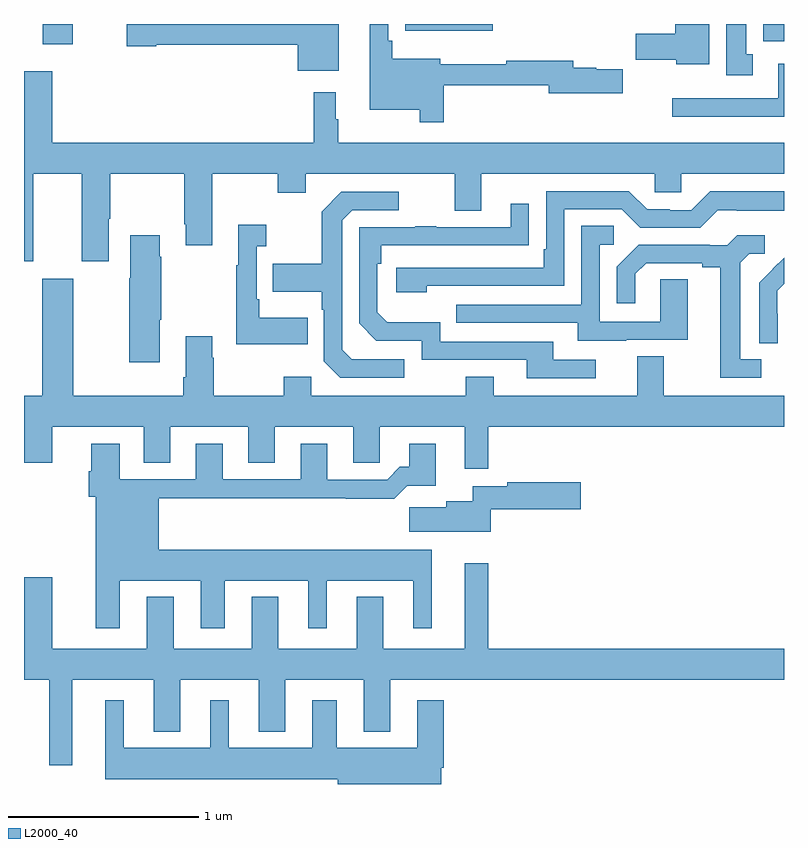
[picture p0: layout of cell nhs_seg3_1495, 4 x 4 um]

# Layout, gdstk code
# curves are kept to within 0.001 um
import gdstk
lib = gdstk.Library(unit=1e-6, precision=1e-09)
def R(c, l, rs):  # rectangles x0, y0, x1, y1
    for r in rs: c.add(gdstk.rectangle(r[:2], r[2:], *l))
def P(c, l, *ps):  # polygons
    for p in ps: c.add(gdstk.Polygon(p, *l))
L2000_40 = (2000, 40)

nhs_seg3_1495 = lib.new_cell('nhs_seg3_1495')
R(nhs_seg3_1495, L2000_40, [(189.098,672.294,189.256,672.4), (192.89,672.308,193,672.4), (191.006,672.365,191.467,672.4)])
P(nhs_seg3_1495, L2000_40, [(190.657,672.4),(189.542,672.4),(189.542,672.284),(189.696,672.284),(189.696,672.292),(190.442,672.292),(190.442,672.155),(190.657,672.155)],
  [(192.607,672.4),(192.428,672.4),(192.428,672.35),(192.219,672.35),(192.219,672.213),(192.432,672.213),(192.432,672.188),(192.607,672.188)],
  [(192.835,672.242),(192.802,672.242),(192.802,672.4),(192.695,672.4),(192.695,672.129),(192.835,672.129)],
  [(191.21,672.078),(191.762,672.078),(191.762,672.035),(192.151,672.035),(192.151,672.162),(192.012,672.162),(192.012,672.17),(191.89,672.17),(191.89,672.206),(191.537,672.206),(191.537,672.187),(191.191,672.187),(191.191,672.217),(190.937,672.217),(190.937,672.313),(190.917,672.313),(190.917,672.4),(190.82,672.4),(190.82,671.948),(191.082,671.948),(191.082,671.883),(191.21,671.883)],
  [(193,672.19),(192.971,672.19),(192.971,672.009),(192.411,672.009),(192.411,671.912),(193,671.912)],
  [(189.148,672.151),(189,672.151),(189,671.151),(189.049,671.151),(189.049,671.612),(189.305,671.612),(189.305,671.151),(189.445,671.151),(189.445,671.374),(189.453,671.374),(189.453,671.612),(189.844,671.612),(189.844,671.347),(189.851,671.347),(189.851,671.235),(189.991,671.235),(189.991,671.612),(190.336,671.612),(190.336,671.513),(190.483,671.513),(190.483,671.612),(191.267,671.612),(191.267,671.418),(191.407,671.418),(191.407,671.612),(192.321,671.612),(192.321,671.514),(192.459,671.514),(192.459,671.612),(193,671.612),(193,671.776),(190.654,671.776),(190.654,671.9),(190.642,671.9),(190.642,672.04),(190.525,672.04),(190.525,671.776),(189.148,671.776)],
  [(191.12,671.022),(191.844,671.022),(191.844,671.424),(192.147,671.424),(192.243,671.328),(192.558,671.328),(192.651,671.421),(192.751,671.421),(192.751,671.417),(193,671.417),(193,671.521),(192.613,671.521),(192.513,671.421),(192.398,671.421),(192.398,671.424),(192.279,671.424),(192.183,671.52),(191.748,671.52),(191.748,671.215),(191.735,671.215),(191.735,671.118),(190.959,671.118),(190.959,670.988),(191.12,670.988)],
  [(191.002,670.635),(190.725,670.635),(190.674,670.686),(190.674,671.367),(190.728,671.421),(190.972,671.421),(190.972,671.517),(190.671,671.517),(190.566,671.411),(190.566,671.139),(190.309,671.139),(190.309,670.991),(190.566,670.991),(190.566,670.895),(190.578,670.895),(190.578,670.626),(190.665,670.539),(191.002,670.539)],
  [(192.01,670.632),(191.785,670.632),(191.785,670.728),(191.19,670.728),(191.19,670.831),(190.913,670.831),(190.86,670.884),(190.86,671.138),(190.88,671.138),(190.88,671.235),(191.657,671.236),(191.657,671.455),(191.561,671.455),(191.561,671.331),(191.171,671.331),(191.171,671.336),(191.059,671.336),(191.059,671.331),(190.764,671.331),(190.764,670.824),(190.854,670.734),(191.094,670.734),(191.094,670.632),(191.645,670.632),(191.645,670.536),(192.01,670.536)],
  [(190.493,670.855),(190.237,670.855),(190.237,670.951),(190.224,670.951),(190.224,671.231),(190.276,671.231),(190.276,671.344),(190.127,671.344),(190.127,671.131),(190.116,671.131),(190.116,670.715),(190.493,670.715)],
  [(192.169,670.737),(192.493,670.737),(192.493,671.057),(192.348,671.057),(192.348,670.833),(192.03,670.833),(192.03,671.238),(192.103,671.238),(192.103,671.339),(191.934,671.339),(191.934,670.923),(191.275,670.923),(191.275,670.827),(191.915,670.827),(191.915,670.733),(192.169,670.733)],
  [(189.715,670.843),(189.723,670.843),(189.723,671.174),(189.715,671.174),(189.715,671.287),(189.56,671.287),(189.56,671.063),(189.553,671.063),(189.553,670.62),(189.715,670.62)],
  [(192.88,670.635),(192.769,670.635),(192.769,671.143),(192.816,671.19),(192.898,671.19),(192.898,671.287),(192.754,671.287),(192.702,671.235),(192.608,671.235),(192.608,671.238),(192.236,671.238),(192.12,671.122),(192.12,670.929),(192.217,670.929),(192.217,671.085),(192.274,671.142),(192.569,671.142),(192.569,671.12),(192.665,671.12),(192.665,670.539),(192.88,670.539)],
  [(192.966,670.874),(192.965,670.874),(192.965,670.997),(193,671.032),(193,671.17),(192.942,671.112),(192.943,671.111),(192.87,671.038),(192.87,670.72),(192.966,670.72)],
  [(189.148,670.28),(189.629,670.28),(189.629,670.09),(189.769,670.09),(189.769,670.28),(190.181,670.28),(190.181,670.09),(190.321,670.09),(190.321,670.28),(190.733,670.28),(190.733,670.09),(190.872,670.09),(190.872,670.28),(191.321,670.28),(191.321,670.059),(191.443,670.059),(191.443,670.28),(193,670.28),(193,670.444),(192.367,670.444),(192.367,670.652),(192.227,670.652),(192.227,670.444),(191.473,670.444),(191.473,670.543),(191.326,670.543),(191.326,670.444),(190.512,670.444),(190.512,670.543),(190.366,670.543),(190.366,670.444),(189.999,670.444),(189.999,670.643),(189.991,670.643),(189.991,670.756),(189.851,670.756),(189.851,670.54),(189.839,670.54),(189.839,670.444),(189.259,670.444),(189.259,671.059),(189.095,671.059),(189.095,670.444),(189,670.444),(189,670.092),(189.148,670.092)],
  [(189.505,669.47),(189.929,669.47),(189.929,669.219),(190.057,669.219),(190.057,669.47),(190.496,669.47),(190.496,669.219),(190.594,669.219),(190.594,669.47),(191.048,669.47),(191.048,669.219),(191.146,669.219),(191.146,669.634),(189.709,669.634),(189.709,669.904),(190.693,669.904),(190.693,669.902),(190.949,669.902),(191.018,669.971),(191.167,669.971),(191.167,670.192),(191.027,670.192),(191.027,670.069),(190.978,670.069),(190.911,670.002),(190.597,670.002),(190.597,670.192),(190.457,670.192),(190.457,670.005),(190.045,670.005),(190.045,670.192),(189.905,670.192),(189.905,670.005),(189.505,670.005),(189.505,670.192),(189.353,670.192),(189.353,670.046),(189.341,670.046),(189.341,669.912),(189.377,669.912),(189.377,669.219),(189.505,669.219)],
  [(191.457,669.845),(191.929,669.845),(191.929,669.987),(191.544,669.987),(191.544,669.967),(191.361,669.967),(191.361,669.889),(191.222,669.889),(191.222,669.857),(191.028,669.857),(191.028,669.728),(191.457,669.728)],
  [(190.927,668.948),(193,668.948),(193,669.112),(191.443,669.112),(191.443,669.562),(191.321,669.562),(191.321,669.112),(190.891,669.112),(190.891,669.385),(190.751,669.385),(190.751,669.112),(190.339,669.112),(190.339,669.385),(190.199,669.385),(190.199,669.112),(189.787,669.112),(189.787,669.385),(189.647,669.385),(189.647,669.112),(189.148,669.112),(189.148,669.487),(189,669.487),(189,668.948),(189.132,668.948),(189.132,668.499),(189.253,668.499),(189.253,668.948),(189.683,668.948),(189.683,668.675),(189.823,668.675),(189.823,668.948),(190.235,668.948),(190.235,668.675),(190.375,668.675),(190.375,668.948),(190.787,668.948),(190.787,668.675),(190.927,668.675)],
  [(191.197,668.486),(191.21,668.486),(191.21,668.842),(191.069,668.842),(191.069,668.59),(190.645,668.59),(190.645,668.842),(190.517,668.842),(190.517,668.59),(190.078,668.59),(190.078,668.842),(189.98,668.842),(189.98,668.59),(189.526,668.59),(189.526,668.842),(189.428,668.842),(189.428,668.426),(190.652,668.426),(190.652,668.4),(191.197,668.4)])

lib.write_gds('nhs_seg3_1495.gds')
